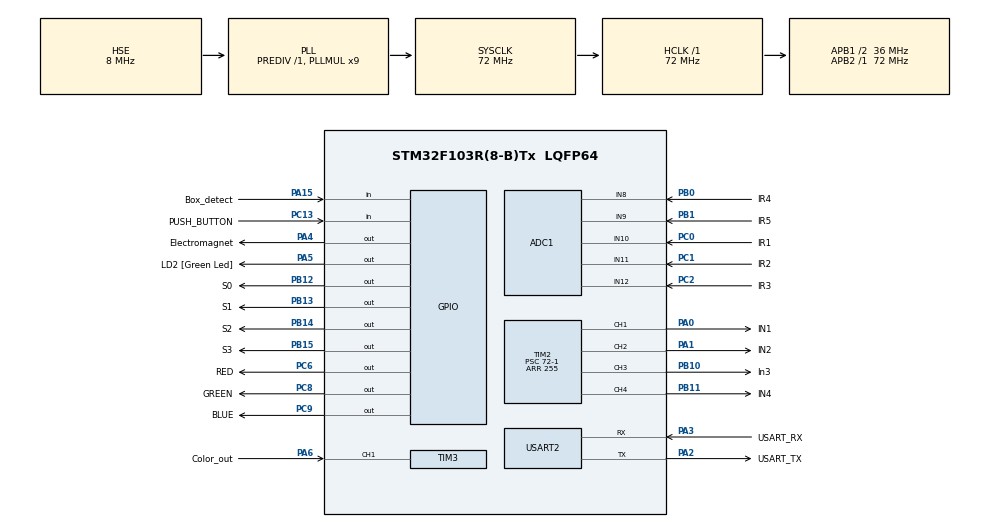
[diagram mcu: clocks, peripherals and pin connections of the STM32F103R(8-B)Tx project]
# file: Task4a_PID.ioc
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ADC1.Channel-0\#ChannelRegularConversion=ADC_CHANNEL_10
ADC1.Channel-1\#ChannelRegularConversion=ADC_CHANNEL_11
ADC1.Channel-2\#ChannelRegularConversion=ADC_CHANNEL_12
ADC1.Channel-3\#ChannelRegularConversion=ADC_CHANNEL_8
ADC1.Channel-4\#ChannelRegularConversion=ADC_CHANNEL_9
ADC1.ContinuousConvMode=ENABLE
ADC1.NbrOfConversion=5
ADC1.NbrOfConversionFlag=1
ADC1.Rank-0\#ChannelRegularConversion=1
ADC1.Rank-1\#ChannelRegularConversion=2
ADC1.Rank-2\#ChannelRegularConversion=3
ADC1.Rank-3\#ChannelRegularConversion=4
ADC1.Rank-4\#ChannelRegularConversion=5
ADC1.SamplingTime-0\#ChannelRegularConversion=ADC_SAMPLETIME_55CYCLES_5
ADC1.SamplingTime-1\#ChannelRegularConversion=ADC_SAMPLETIME_55CYCLES_5
ADC1.SamplingTime-2\#ChannelRegularConversion=ADC_SAMPLETIME_55CYCLES_5
ADC1.SamplingTime-3\#ChannelRegularConversion=ADC_SAMPLETIME_55CYCLES_5
ADC1.SamplingTime-4\#ChannelRegularConversion=ADC_SAMPLETIME_55CYCLES_5
ADC1.master=1
Dma.ADC1.0.Direction=DMA_PERIPH_TO_MEMORY
Dma.ADC1.0.Instance=DMA1_Channel1
Dma.ADC1.0.MemDataAlignment=DMA_MDATAALIGN_HALFWORD
Dma.ADC1.0.MemInc=DMA_MINC_ENABLE
Dma.ADC1.0.Mode=DMA_CIRCULAR
Dma.ADC1.0.PeriphDataAlignment=DMA_PDATAALIGN_HALFWORD
Dma.ADC1.0.PeriphInc=DMA_PINC_DISABLE
Dma.ADC1.0.Priority=DMA_PRIORITY_LOW
Dma.Request0=ADC1
Mcu.Family=STM32F1
Mcu.Name=STM32F103R(8-B)Tx
Mcu.Package=LQFP64
NVIC.ADC1_2_IRQn=true\:0\:0\:false\:false\:true\:true\:true\:true
NVIC.DMA1_Channel1_IRQn=true\:0\:0\:false\:false\:true\:false\:true\:true
NVIC.PriorityGroup=NVIC_PRIORITYGROUP_4
NVIC.TIM3_IRQn=true\:0\:0\:false\:false\:true\:true\:true\:true
PA0-WKUP.GPIO_Label=IN1
PA0-WKUP.Signal=S_TIM2_CH1_ETR
PA1.GPIO_Label=IN2
PA1.Signal=S_TIM2_CH2
PA13.GPIO_Label=TMS
PA13.Mode=Serial_Wire
PA13.Signal=SYS_JTMS-SWDIO
PA14.GPIO_Label=TCK
PA14.Mode=Serial_Wire
PA14.Signal=SYS_JTCK-SWCLK
PA15.GPIO_Label=Box_detect
PA15.Signal=GPIO_Input
PA2.GPIO_Label=USART_TX
PA2.GPIO_Mode=GPIO_MODE_AF_PP
PA2.GPIO_PuPd=GPIO_NOPULL
PA2.GPIO_Speed=GPIO_SPEED_FREQ_LOW
PA2.Mode=Asynchronous
PA2.Signal=USART2_TX
PA3.GPIO_Label=USART_RX
PA3.GPIO_Mode=GPIO_MODE_AF_PP
PA3.GPIO_PuPd=GPIO_NOPULL
PA3.GPIO_Speed=GPIO_SPEED_FREQ_LOW
PA3.Mode=Asynchronous
PA3.Signal=USART2_RX
PA4.GPIO_Label=Electromagnet
PA4.Signal=GPIO_Output
PA5.GPIO_Label=LD2 [Green Led]
PA5.GPIO_ModeDefaultOutputPP=GPIO_MODE_OUTPUT_PP
PA5.GPIO_PuPd=GPIO_NOPULL
PA5.GPIO_Speed=GPIO_SPEED_FREQ_LOW
PA5.Signal=GPIO_Output
PA6.GPIO_Label=Color_out
PA6.Signal=S_TIM3_CH1
PB0.GPIO_Label=IR4
PB0.Signal=ADCx_IN8
PB1.GPIO_Label=IR5
PB1.Signal=ADCx_IN9
PB10.GPIO_Label=In3
PB10.Signal=S_TIM2_CH3
PB11.GPIO_Label=IN4
PB11.Signal=S_TIM2_CH4
PB12.GPIO_Label=S0
PB12.Signal=GPIO_Output
PB13.GPIO_Label=S1
PB13.Signal=GPIO_Output
PB14.GPIO_Label=S2
PB14.Signal=GPIO_Output
PB15.GPIO_Label=S3
PB15.Signal=GPIO_Output
PB3.GPIO_Label=SWO
PB3.Signal=SYS_JTDO-TRACESWO
PC0.GPIO_Label=IR1
PC0.Signal=ADCx_IN10
PC1.GPIO_Label=IR2
PC1.Signal=ADCx_IN11
PC13-TAMPER-RTC.GPIO_Label=PUSH_BUTTON
PC13-TAMPER-RTC.GPIO_PuPd=GPIO_PULLUP
PC13-TAMPER-RTC.Signal=GPIO_Input
PC14-OSC32_IN.Mode=LSE-External-Oscillator
PC14-OSC32_IN.Signal=RCC_OSC32_IN
PC15-OSC32_OUT.Mode=LSE-External-Oscillator
PC15-OSC32_OUT.Signal=RCC_OSC32_OUT
PC2.GPIO_Label=IR3
PC2.Signal=ADCx_IN12
PC6.GPIO_Label=RED
PC6.Signal=GPIO_Output
PC8.GPIO_Label=GREEN
PC8.Signal=GPIO_Output
PC9.GPIO_Label=BLUE
PC9.Signal=GPIO_Output
PD0-OSC_IN.Mode=HSE-External-Clock-Source
PD0-OSC_IN.Signal=RCC_OSC_IN
PD1-OSC_OUT.Mode=HSE-External-Clock-Source
PD1-OSC_OUT.Signal=RCC_OSC_OUT
ProjectManager.HeapSize=0x200
ProjectManager.StackSize=0x400
ProjectManager.TargetToolchain=STM32CubeIDE
RCC.ADCPresc=RCC_ADCPCLK2_DIV6
RCC.AHBFreq_Value=72000000
RCC.APB1CLKDivider=RCC_HCLK_DIV2
RCC.APB1Freq_Value=36000000
RCC.APB1TimFreq_Value=72000000
RCC.APB2Freq_Value=72000000
RCC.APB2TimFreq_Value=72000000
RCC.HCLKFreq_Value=72000000
RCC.PLLMUL=RCC_PLL_MUL9
RCC.PLLSourceVirtual=RCC_PLLSOURCE_HSE
RCC.RTCClockSelection=RCC_RTCCLKSOURCE_LSE
RCC.SYSCLKFreq_VALUE=72000000
RCC.SYSCLKSource=RCC_SYSCLKSOURCE_PLLCLK
RCC.USBFreq_Value=72000000
SH.ADCx_IN10.0=ADC1_IN10,IN10
SH.ADCx_IN11.0=ADC1_IN11,IN11
SH.ADCx_IN12.0=ADC1_IN12,IN12
SH.ADCx_IN8.0=ADC1_IN8,IN8
SH.ADCx_IN9.0=ADC1_IN9,IN9
SH.S_TIM2_CH1_ETR.0=TIM2_CH1,PWM Generation1 CH1
SH.S_TIM2_CH2.0=TIM2_CH2,PWM Generation2 CH2
SH.S_TIM2_CH3.0=TIM2_CH3,PWM Generation3 CH3
SH.S_TIM2_CH4.0=TIM2_CH4,PWM Generation4 CH4
SH.S_TIM3_CH1.0=TIM3_CH1,Input_Capture1_from_TI1
TIM2.Channel-PWM\ Generation1\ CH1=TIM_CHANNEL_1
TIM2.Channel-PWM\ Generation2\ CH2=TIM_CHANNEL_2
TIM2.Channel-PWM\ Generation3\ CH3=TIM_CHANNEL_3
TIM2.Channel-PWM\ Generation4\ CH4=TIM_CHANNEL_4
TIM2.Period=255
TIM2.Prescaler=72-1
TIM3.Channel-Input_Capture1_from_TI1=TIM_CHANNEL_1
USART2.VirtualMode=VM_ASYNC
board=NUCLEO-F103RB

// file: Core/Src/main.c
/* USER CODE BEGIN Header */
/**
  ******************************************************************************
  * @file           : main.c
  * @brief          : Main program body
  ******************************************************************************
  * @attention
  *
  * Copyright (c) 2025 STMicroelectronics.
  * All rights reserved.
  *
  * This software is licensed under terms that can be found in the LICENSE file
  * in the root directory of this software component.
  * If no LICENSE file comes with this software, it is provided AS-IS.
  *
  ******************************************************************************
  */
/* USER CODE END Header */
#include "main.h"

/* USER CODE BEGIN Includes */
#include<stdio.h>
#include<string.h>

/* USER CODE END Includes */

/* USER CODE BEGIN PD */
#define PWM_MAX 255

// Left Motor (L298N)
#define LM_IN1 TIM_CHANNEL_1   // PA0
#define LM_IN2 TIM_CHANNEL_2   // PA1

// Right Motor (L298N)
#define RM_IN1 TIM_CHANNEL_3   // PA2
#define RM_IN2 TIM_CHANNEL_4   // PA3
#define TURN_SPEED     110
#define STOP_TIME_MS   1000

/* USER CODE END PD */

ADC_HandleTypeDef hadc1;
DMA_HandleTypeDef hdma_adc1;

TIM_HandleTypeDef htim2;
TIM_HandleTypeDef htim3;

UART_HandleTypeDef huart2;

/* USER CODE BEGIN PV */
volatile uint16_t adcBuffer[5];
char uartBuf[100];       // UART print buffer
/* >>> ADD: Calibration variables */
uint16_t irMin[5];
uint16_t irMax[5];
uint16_t irThreshold[5];
/* >>> ADD: Line sensing variables */
uint16_t sensorNorm[5];     // 0–1000 normalized
uint8_t  sensorBinary[5];   // 1 = white, 0 = black
int8_t   sensorWeight[5] = { -2, -1, 0, 1, 2 };
//int8_t   bitWeight[5] = {1,2,4,8,16};
typedef enum {
    DIR_STRAIGHT = 0,
    DIR_LEFT,
    DIR_RIGHT
} Direction_t;
//
//Direction_t direction = DIR_STRAIGHT;
typedef enum {
    STATE_PID,
    STATE_PEEK_FORWARD,
    STATE_STOP_BEFORE_TURN,
    STATE_TURNING,
	ALL_BLACK_FORWARD,
	ALL_BLACK_CHECK,
	INVERSE_LINE
} RobotState_t;

RobotState_t robotState = STATE_PID;
Direction_t storedDirection = DIR_STRAIGHT;

uint32_t stateStartTime = 0;

typedef enum {
    LINE_WHITE_ON_BLACK = 0,   // white line, black surface
    LINE_BLACK_ON_WHITE        // black line, white surface
} LineType_t;

LineType_t currentLineType = LINE_WHITE_ON_BLACK;
uint8_t onLine = 0;
float lineError = 0;
float Kp = 0.15f;
float Ki = 0.002f;
float Kd = 0.15f;
float pid_P = 0, pid_I = 0, pid_D = 0;
float previousError = 0;
float pidOutput = 0;

/* Base speed settings */
uint8_t currentspeed= 50;
uint8_t baseSpeed = 150;     // cruising speed
uint8_t maxSpeed  = 200;     // safety limit
uint8_t Bval=0;
uint8_t inSharpTurn = 0;
uint8_t bit_sensor;

/* USER CODE END PV */

void SystemClock_Config(void);
static void MX_GPIO_Init(void);
static void MX_DMA_Init(void);
static void MX_USART2_UART_Init(void);
static void MX_ADC1_Init(void);
static void MX_TIM2_Init(void);
static void MX_TIM3_Init(void);
/* USER CODE BEGIN PFP */
void Motor_Stop(void);
void Motor_Forward(uint8_t left_speed, uint8_t right_speed);
void Motor_Reverse(uint8_t left_speed, uint8_t right_speed);
void Motor_Turn_Left(uint8_t left_speed, uint8_t right_speed);
void Motor_Turn_Right(uint8_t left_speed, uint8_t right_speed);
void Calibrate_IR_Sensors(void);
void Read_Line_Sensors(void);
float Compute_Line_Error(void);
void Line_PID_Control(void);
void Print_Sensor_Binary(void);
void side_calibration(void);

/* USER CODE END PFP */

int main(void)
{

  /* MCU Configuration--------------------------------------------------------*/

  /* Reset of all peripherals, Initializes the Flash interface and the Systick. */
  HAL_Init();

  /* Configure the system clock */
  SystemClock_Config();

  /* Initialize all configured peripherals */
  MX_GPIO_Init();
  MX_DMA_Init();
  MX_USART2_UART_Init();
  MX_ADC1_Init();
  MX_TIM2_Init();
  MX_TIM3_Init();
  /* USER CODE BEGIN 2 */
  HAL_ADC_Start_DMA(&hadc1, (uint32_t*)adcBuffer,5);
  HAL_TIM_PWM_Start(&htim2, TIM_CHANNEL_1);
  HAL_TIM_PWM_Start(&htim2, TIM_CHANNEL_2);
  HAL_TIM_PWM_Start(&htim2, TIM_CHANNEL_3);
  HAL_TIM_PWM_Start(&htim2, TIM_CHANNEL_4);
  HAL_Delay(500);          // wait before calibration
  Calibrate_IR_Sensors();

  /* USER CODE END 2 */

  /* Infinite loop */
  while (1)
  {

    /* USER CODE BEGIN 3 */
	    Read_Line_Sensors();
	    lineError = Compute_Line_Error();
//	    Print_Sensor_Binary();
	    if(currentspeed<baseSpeed){
	    	currentspeed++;
	    }
//	    /* -------- SHARP TURN DETECTION -------- */
	    if (robotState == STATE_PID)
	    {
	        if (bit_sensor == 0b11100 || bit_sensor == 0b11000 ||
	            bit_sensor == 0b10000 )
	        {
	            storedDirection = DIR_LEFT;
	            robotState = STATE_PEEK_FORWARD;
	            stateStartTime = HAL_GetTick();
	            continue;
	        }

	        if (bit_sensor == 0b00111 || bit_sensor == 0b00011 ||
	            bit_sensor == 0b00001 )
	        {
	            storedDirection = DIR_RIGHT;
	            robotState = STATE_PEEK_FORWARD;
	            stateStartTime = HAL_GetTick();
	            continue;
	        }
//	        if(bit_sensor==0b00000){
//	        	robotState = ALL_BLACK_FORWARD;
//	        	stateStartTime = HAL_GetTick();
//	        	continue;
//	        }
	        if(bit_sensor==0b11011|| bit_sensor==0b10001 || bit_sensor==0b11101|| bit_sensor==0b10111){
	        	//inverse line detected
	        	robotState=INVERSE_LINE;
	        	continue;
	        }
	    }

	    if(robotState==INVERSE_LINE){
	    	//Black line then stop
	    	Motor_Stop();
	    	continue;
	    }
	    if (robotState == STATE_PEEK_FORWARD)
	    {
	        Motor_Forward(100, 100);

	        if (HAL_GetTick() - stateStartTime > 150)   // move forward ~300ms
	        {
//	            robotState = STATE_STOP_BEFORE_TURN;
	        	robotState = STATE_TURNING;
	            stateStartTime = HAL_GetTick();
	        }
	        continue;
	    }
//	    if (robotState == ALL_BLACK_FORWARD)
//	    {
//	    	 Motor_Forward(70, 70);
//
//	    	 if (HAL_GetTick() - stateStartTime >= 50)
//	    	 {
//	    		 Motor_Stop();
//	    	     robotState = ALL_BLACK_CHECK;   // 👈 decision state
//	    	 }
//	    	 continue;
//	    }
//	    if (robotState == ALL_BLACK_CHECK)
//	    {
//	        Read_Line_Sensors();
//	        Compute_Line_Error();   // updates bit_sensor
//
//	        if (bit_sensor == 0b00000)
//	        {
//	            //STILL ALL BLACK → FULL STOP
//	            Motor_Stop();
//	            // stay here forever OR until reset
//	        }
//	        else
//	        {
//	            //LINE FOUND → RESUME PID
//	            pid_I = 0;
//	            previousError = 0;
//	            robotState = STATE_PID;
//	        }
//	        continue;
//	    }
//	    if (robotState == STATE_STOP_BEFORE_TURN)
//	    {
//	        Motor_Stop();
//
//	        if (HAL_GetTick() - stateStartTime > 150)
//	        {
//	            robotState = STATE_TURNING;
//	        }
//	        continue;
//	    }
	    if (robotState == STATE_TURNING)
	    {
	        if (storedDirection == DIR_LEFT)
	            Motor_Turn_Left(baseSpeed,baseSpeed);
	        else
	            Motor_Turn_Right(baseSpeed, baseSpeed);

	        if (sensorBinary[2])   // center sensor found line
	        {
	            Motor_Stop();
	            pid_I = 0;
	            previousError = 0;
	            storedDirection =DIR_STRAIGHT;
	            robotState = STATE_PID;

	        }
	        continue;
	    }
	    if (robotState == STATE_PID)
	    {
	        Line_PID_Control();
	    }
//	    if(onLine == 1 && inSharpTurn == 0){
//	    	Line_PID_Control();
//	    }
//	    else{
//
//	    if((sensorBinary[0] && sensorBinary[1] && sensorBinary[2] && !sensorBinary[3] && !sensorBinary[4])||
//	    	   (sensorBinary[0] && sensorBinary[1] &&! sensorBinary[2] && !sensorBinary[3] && !sensorBinary[4])||
//			   (sensorBinary[0] && !sensorBinary[1] && !sensorBinary[2] && !sensorBinary[3] && !sensorBinary[4])||
//			   (sensorBinary[0] && sensorBinary[1] && sensorBinary[2] && sensorBinary[3] && !sensorBinary[4])){
//	    		inSharpTurn = 1;
//
//	    		    // 1️⃣ STOP
//	    		    Motor_Stop();
//	    		    HAL_Delay(STOP_TIME_MS);
//
//	    		    // 2️⃣ TURN LEFT
//	    		    Motor_Turn_Left(100, 200);
//	    		    HAL_Delay(500);
//
//	    		    // 3️⃣ STOP again briefly
//	    		    Motor_Stop();
//	    		    HAL_Delay(50);
//
//	    		    // Reset PID so it doesn't jerk
//	    		    pid_I = 0;
//	    		    previousError = 0;
//
//	    		    inSharpTurn = 0;
//	    	}
//	    	else if((!sensorBinary[0] && sensorBinary[1] && sensorBinary[2] && sensorBinary[3] && sensorBinary[4])||
//	    			(!sensorBinary[0] && !sensorBinary[1] && sensorBinary[2] && sensorBinary[3] && sensorBinary[4])||
//					(!sensorBinary[0] && !sensorBinary[1] && !sensorBinary[2] && sensorBinary[3] && sensorBinary[4])||
//					(!sensorBinary[0] && !sensorBinary[1] && !sensorBinary[2] && !sensorBinary[3] && sensorBinary[4])){
//	    		inSharpTurn = 1;
//
//	    		    // 1️⃣ STOP
//	    		    Motor_Stop();
//	    		    HAL_Delay(STOP_TIME_MS);
//
//	    		    // 2️⃣ TURN RIGHT
//	    		    Motor_Turn_Right(200, 100);
//	    		    HAL_Delay(500);
//
//	    		    // 3️⃣ STOP again briefly
//	    		    Motor_Stop();
//	    		    HAL_Delay(50);
//
//	    		    pid_I = 0;
//	    		    previousError = 0;
//
//	    		    inSharpTurn = 0;
//	    	}
//	    }
//	    HAL_Delay(5);
  }
  /* USER CODE END 3 */
}

void SystemClock_Config(void)
{
  RCC_OscInitTypeDef RCC_OscInitStruct = {0};
  RCC_ClkInitTypeDef RCC_ClkInitStruct = {0};
  RCC_PeriphCLKInitTypeDef PeriphClkInit = {0};

  /** Initializes the RCC Oscillators according to the specified parameters
  * in the RCC_OscInitTypeDef structure.
  */
  RCC_OscInitStruct.OscillatorType = RCC_OSCILLATORTYPE_HSE;
  RCC_OscInitStruct.HSEState = RCC_HSE_BYPASS;
  RCC_OscInitStruct.HSEPredivValue = RCC_HSE_PREDIV_DIV1;
  RCC_OscInitStruct.HSIState = RCC_HSI_ON;
  RCC_OscInitStruct.PLL.PLLState = RCC_PLL_ON;
  RCC_OscInitStruct.PLL.PLLSource = RCC_PLLSOURCE_HSE;
  RCC_OscInitStruct.PLL.PLLMUL = RCC_PLL_MUL9;
  if (HAL_RCC_OscConfig(&RCC_OscInitStruct) != HAL_OK)
  {
    Error_Handler();
  }

  /** Initializes the CPU, AHB and APB buses clocks
  */
  RCC_ClkInitStruct.ClockType = RCC_CLOCKTYPE_HCLK|RCC_CLOCKTYPE_SYSCLK
                              |RCC_CLOCKTYPE_PCLK1|RCC_CLOCKTYPE_PCLK2;
  RCC_ClkInitStruct.SYSCLKSource = RCC_SYSCLKSOURCE_PLLCLK;
  RCC_ClkInitStruct.AHBCLKDivider = RCC_SYSCLK_DIV1;
  RCC_ClkInitStruct.APB1CLKDivider = RCC_HCLK_DIV2;
  RCC_ClkInitStruct.APB2CLKDivider = RCC_HCLK_DIV1;

  if (HAL_RCC_ClockConfig(&RCC_ClkInitStruct, FLASH_LATENCY_2) != HAL_OK)
  {
    Error_Handler();
  }
  PeriphClkInit.PeriphClockSelection = RCC_PERIPHCLK_ADC;
  PeriphClkInit.AdcClockSelection = RCC_ADCPCLK2_DIV6;
  if (HAL_RCCEx_PeriphCLKConfig(&PeriphClkInit) != HAL_OK)
  {
    Error_Handler();
  }
}

static void MX_ADC1_Init(void)
{

  ADC_ChannelConfTypeDef sConfig = {0};

  /** Common config
  */
  hadc1.Instance = ADC1;
  hadc1.Init.ScanConvMode = ADC_SCAN_ENABLE;
  hadc1.Init.ContinuousConvMode = ENABLE;
  hadc1.Init.DiscontinuousConvMode = DISABLE;
  hadc1.Init.ExternalTrigConv = ADC_SOFTWARE_START;
  hadc1.Init.DataAlign = ADC_DATAALIGN_RIGHT;
  hadc1.Init.NbrOfConversion = 5;
  if (HAL_ADC_Init(&hadc1) != HAL_OK)
  {
    Error_Handler();
  }

  /** Configure Regular Channel
  */
  sConfig.Channel = ADC_CHANNEL_10;
  sConfig.Rank = ADC_REGULAR_RANK_1;
  sConfig.SamplingTime = ADC_SAMPLETIME_55CYCLES_5;
  if (HAL_ADC_ConfigChannel(&hadc1, &sConfig) != HAL_OK)
  {
    Error_Handler();
  }

  /** Configure Regular Channel
  */
  sConfig.Channel = ADC_CHANNEL_11;
  sConfig.Rank = ADC_REGULAR_RANK_2;
  if (HAL_ADC_ConfigChannel(&hadc1, &sConfig) != HAL_OK)
  {
    Error_Handler();
  }

  /** Configure Regular Channel
  */
  sConfig.Channel = ADC_CHANNEL_12;
  sConfig.Rank = ADC_REGULAR_RANK_3;
  if (HAL_ADC_ConfigChannel(&hadc1, &sConfig) != HAL_OK)
  {
    Error_Handler();
  }

  /** Configure Regular Channel
  */
  sConfig.Channel = ADC_CHANNEL_8;
  sConfig.Rank = ADC_REGULAR_RANK_4;
  if (HAL_ADC_ConfigChannel(&hadc1, &sConfig) != HAL_OK)
  {
    Error_Handler();
  }

  /** Configure Regular Channel
  */
  sConfig.Channel = ADC_CHANNEL_9;
  sConfig.Rank = ADC_REGULAR_RANK_5;
  if (HAL_ADC_ConfigChannel(&hadc1, &sConfig) != HAL_OK)
  {
    Error_Handler();
  }

}

static void MX_TIM2_Init(void)
{

  TIM_MasterConfigTypeDef sMasterConfig = {0};
  TIM_OC_InitTypeDef sConfigOC = {0};

  htim2.Instance = TIM2;
  htim2.Init.Prescaler = 72-1;
  htim2.Init.CounterMode = TIM_COUNTERMODE_UP;
  htim2.Init.Period = 255;
  htim2.Init.ClockDivision = TIM_CLOCKDIVISION_DIV1;
  htim2.Init.AutoReloadPreload = TIM_AUTORELOAD_PRELOAD_DISABLE;
  if (HAL_TIM_PWM_Init(&htim2) != HAL_OK)
  {
    Error_Handler();
  }
  sMasterConfig.MasterOutputTrigger = TIM_TRGO_RESET;
  sMasterConfig.MasterSlaveMode = TIM_MASTERSLAVEMODE_DISABLE;
  if (HAL_TIMEx_MasterConfigSynchronization(&htim2, &sMasterConfig) != HAL_OK)
  {
    Error_Handler();
  }
  sConfigOC.OCMode = TIM_OCMODE_PWM1;
  sConfigOC.Pulse = 0;
  sConfigOC.OCPolarity = TIM_OCPOLARITY_HIGH;
  sConfigOC.OCFastMode = TIM_OCFAST_DISABLE;
  if (HAL_TIM_PWM_ConfigChannel(&htim2, &sConfigOC, TIM_CHANNEL_1) != HAL_OK)
  {
    Error_Handler();
  }
  if (HAL_TIM_PWM_ConfigChannel(&htim2, &sConfigOC, TIM_CHANNEL_2) != HAL_OK)
  {
    Error_Handler();
  }
  if (HAL_TIM_PWM_ConfigChannel(&htim2, &sConfigOC, TIM_CHANNEL_3) != HAL_OK)
  {
    Error_Handler();
  }
  if (HAL_TIM_PWM_ConfigChannel(&htim2, &sConfigOC, TIM_CHANNEL_4) != HAL_OK)
  {
    Error_Handler();
  }
  HAL_TIM_MspPostInit(&htim2);

}

static void MX_TIM3_Init(void)
{

  TIM_MasterConfigTypeDef sMasterConfig = {0};
  TIM_IC_InitTypeDef sConfigIC = {0};

  htim3.Instance = TIM3;
  htim3.Init.Prescaler = 0;
  htim3.Init.CounterMode = TIM_COUNTERMODE_UP;
  htim3.Init.Period = 65535;
  htim3.Init.ClockDivision = TIM_CLOCKDIVISION_DIV1;
  htim3.Init.AutoReloadPreload = TIM_AUTORELOAD_PRELOAD_DISABLE;
  if (HAL_TIM_IC_Init(&htim3) != HAL_OK)
  {
    Error_Handler();
  }
  sMasterConfig.MasterOutputTrigger = TIM_TRGO_RESET;
  sMasterConfig.MasterSlaveMode = TIM_MASTERSLAVEMODE_DISABLE;
  if (HAL_TIMEx_MasterConfigSynchronization(&htim3, &sMasterConfig) != HAL_OK)
  {
    Error_Handler();
  }
  sConfigIC.ICPolarity = TIM_INPUTCHANNELPOLARITY_RISING;
  sConfigIC.ICSelection = TIM_ICSELECTION_DIRECTTI;
  sConfigIC.ICPrescaler = TIM_ICPSC_DIV1;
  sConfigIC.ICFilter = 0;
  if (HAL_TIM_IC_ConfigChannel(&htim3, &sConfigIC, TIM_CHANNEL_1) != HAL_OK)
  {
    Error_Handler();
  }

}

static void MX_USART2_UART_Init(void)
{

  huart2.Instance = USART2;
  huart2.Init.BaudRate = 115200;
  huart2.Init.WordLength = UART_WORDLENGTH_8B;
  huart2.Init.StopBits = UART_STOPBITS_1;
  huart2.Init.Parity = UART_PARITY_NONE;
  huart2.Init.Mode = UART_MODE_TX_RX;
  huart2.Init.HwFlowCtl = UART_HWCONTROL_NONE;
  huart2.Init.OverSampling = UART_OVERSAMPLING_16;
  if (HAL_UART_Init(&huart2) != HAL_OK)
  {
    Error_Handler();
  }

}

static void MX_DMA_Init(void)
{

  /* DMA controller clock enable */
  __HAL_RCC_DMA1_CLK_ENABLE();

  /* DMA interrupt init */
  /* DMA1_Channel1_IRQn interrupt configuration */
  HAL_NVIC_SetPriority(DMA1_Channel1_IRQn, 0, 0);
  HAL_NVIC_EnableIRQ(DMA1_Channel1_IRQn);

}

static void MX_GPIO_Init(void)
{
  GPIO_InitTypeDef GPIO_InitStruct = {0};

  /* GPIO Ports Clock Enable */
  __HAL_RCC_GPIOC_CLK_ENABLE();
  __HAL_RCC_GPIOD_CLK_ENABLE();
  __HAL_RCC_GPIOA_CLK_ENABLE();
  __HAL_RCC_GPIOB_CLK_ENABLE();

  /*Configure GPIO pin Output Level */
  HAL_GPIO_WritePin(GPIOA, Electromagnet_Pin|LD2_Pin, GPIO_PIN_RESET);

  /*Configure GPIO pin Output Level */
  HAL_GPIO_WritePin(GPIOB, S0_Pin|S1_Pin|S2_Pin|S3_Pin, GPIO_PIN_RESET);

  /*Configure GPIO pin Output Level */
  HAL_GPIO_WritePin(GPIOC, RED_Pin|GREEN_Pin|BLUE_Pin, GPIO_PIN_RESET);

  /*Configure GPIO pin : PUSH_BUTTON_Pin */
  GPIO_InitStruct.Pin = PUSH_BUTTON_Pin;
  GPIO_InitStruct.Mode = GPIO_MODE_INPUT;
  GPIO_InitStruct.Pull = GPIO_PULLUP;
  HAL_GPIO_Init(PUSH_BUTTON_GPIO_Port, &GPIO_InitStruct);

  /*Configure GPIO pins : Electromagnet_Pin LD2_Pin */
  GPIO_InitStruct.Pin = Electromagnet_Pin|LD2_Pin;
  GPIO_InitStruct.Mode = GPIO_MODE_OUTPUT_PP;
  GPIO_InitStruct.Pull = GPIO_NOPULL;
  GPIO_InitStruct.Speed = GPIO_SPEED_FREQ_LOW;
  HAL_GPIO_Init(GPIOA, &GPIO_InitStruct);

  /*Configure GPIO pins : S0_Pin S1_Pin S2_Pin S3_Pin */
  GPIO_InitStruct.Pin = S0_Pin|S1_Pin|S2_Pin|S3_Pin;
  GPIO_InitStruct.Mode = GPIO_MODE_OUTPUT_PP;
  GPIO_InitStruct.Pull = GPIO_NOPULL;
  GPIO_InitStruct.Speed = GPIO_SPEED_FREQ_LOW;
  HAL_GPIO_Init(GPIOB, &GPIO_InitStruct);

  /*Configure GPIO pins : RED_Pin GREEN_Pin BLUE_Pin */
  GPIO_InitStruct.Pin = RED_Pin|GREEN_Pin|BLUE_Pin;
  GPIO_InitStruct.Mode = GPIO_MODE_OUTPUT_PP;
  GPIO_InitStruct.Pull = GPIO_NOPULL;
  GPIO_InitStruct.Speed = GPIO_SPEED_FREQ_LOW;
  HAL_GPIO_Init(GPIOC, &GPIO_InitStruct);

  /*Configure GPIO pin : Box_detect_Pin */
  GPIO_InitStruct.Pin = Box_detect_Pin;
  GPIO_InitStruct.Mode = GPIO_MODE_INPUT;
  GPIO_InitStruct.Pull = GPIO_NOPULL;
  HAL_GPIO_Init(Box_detect_GPIO_Port, &GPIO_InitStruct);

}

/* USER CODE BEGIN 4 */
void Motor_Stop(void)
{
    __HAL_TIM_SET_COMPARE(&htim2, LM_IN1, 0);
    __HAL_TIM_SET_COMPARE(&htim2, LM_IN2, 0);
    __HAL_TIM_SET_COMPARE(&htim2, RM_IN1, 0);
    __HAL_TIM_SET_COMPARE(&htim2, RM_IN2, 0);
}

void Motor_Forward(uint8_t left_speed, uint8_t right_speed)
{
    __HAL_TIM_SET_COMPARE(&htim2, LM_IN1, left_speed);
    __HAL_TIM_SET_COMPARE(&htim2, LM_IN2, 0);

    __HAL_TIM_SET_COMPARE(&htim2, RM_IN1, right_speed);
    __HAL_TIM_SET_COMPARE(&htim2, RM_IN2, 0);
}

void Motor_Reverse(uint8_t left_speed, uint8_t right_speed)
{
    __HAL_TIM_SET_COMPARE(&htim2, LM_IN1, 0);
    __HAL_TIM_SET_COMPARE(&htim2, LM_IN2, left_speed);

    __HAL_TIM_SET_COMPARE(&htim2, RM_IN1, 0);
    __HAL_TIM_SET_COMPARE(&htim2, RM_IN2, right_speed);
}

void Motor_Turn_Left(uint8_t left_speed, uint8_t right_speed)
{
	 	 // Left motor backward
	    __HAL_TIM_SET_COMPARE(&htim2, LM_IN1, 0);
	    __HAL_TIM_SET_COMPARE(&htim2, LM_IN2, left_speed);

	    // Right motor forward
	    __HAL_TIM_SET_COMPARE(&htim2, RM_IN1, right_speed);
	    __HAL_TIM_SET_COMPARE(&htim2, RM_IN2, 0);
}

void Motor_Turn_Right(uint8_t left_speed, uint8_t right_speed)
{
		// Left motor forward
	    __HAL_TIM_SET_COMPARE(&htim2, LM_IN1, left_speed);
	    __HAL_TIM_SET_COMPARE(&htim2, LM_IN2, 0);

	    // Right motor backward
	    __HAL_TIM_SET_COMPARE(&htim2, RM_IN1, 0);
	    __HAL_TIM_SET_COMPARE(&htim2, RM_IN2, right_speed);
}

/* IR sensor calibration function */
void Calibrate_IR_Sensors(void)
{
    // Initialize min & max with first ADC readings
    for (int i = 0; i < 5; i++)
    {
        irMin[i] = adcBuffer[i];
        irMax[i] = adcBuffer[i];
    }

    uint32_t startTime = HAL_GetTick();

    // Rotate robot for calibration (~4 seconds)
    while (HAL_GetTick() - startTime < 4000)
    {
        // Rotate in place
        Motor_Turn_Left(100, 100);

        for (int i = 0; i < 5; i++)
        {
            uint16_t val = adcBuffer[i];

            if (val < irMin[i]) irMin[i] = val;
            if (val > irMax[i]) irMax[i] = val;
        }

        HAL_Delay(2);  // small delay for ADC stability
    }

    // Calculate threshold for each sensor
    for (int i = 0; i < 5; i++)
    {
        irThreshold[i] = (irMin[i] + irMax[i]) / 2;
    }
    while(1){
    	 Motor_Stop();
    	 Bval=HAL_GPIO_ReadPin(PUSH_BUTTON_GPIO_Port, PUSH_BUTTON_Pin);
    	 if(Bval==0){
    		 break;
    	 }

    }

//  	Print calibration results
//    int len = snprintf(uartBuf, sizeof(uartBuf),
//        "CAL DONE | T: %d %d %d %d %d\r\n",
//        irThreshold[0], irThreshold[1], irThreshold[2],
//        irThreshold[3], irThreshold[4]);
//
//    HAL_UART_Transmit(&huart2, (uint8_t*)uartBuf, len, HAL_MAX_DELAY);
}

/*: Read & classify IR sensors (WHITE line) */
void Read_Line_Sensors(void)
{
    onLine = 0;

    for (int i = 0; i < 5; i++)
    {
        uint16_t raw = adcBuffer[i];

        // Normalize to 0–1000 (WHITE = 1000)
        if (raw <= irMin[i])
            sensorNorm[i] = 0;
        else if (raw >= irMax[i])
            sensorNorm[i] = 1000;
        else
            sensorNorm[i] = (uint16_t)(
                ( (raw - irMin[i]) * 1000UL ) / (irMax[i] - irMin[i])
            );

        // Binary decision: WHITE or BLACK
        sensorBinary[i] = (raw > irThreshold[i]) ? 1 : 0;

        if (sensorBinary[i])
            onLine = 1;
    }
}

/*  Compute weighted line error */
float Compute_Line_Error(void)
{
    int activeSensors = 0;
    float errorSum = 0;
    bit_sensor=0;

    for (int i = 0; i < 5; i++)
    {
        if (sensorBinary[i])
        {
            errorSum += sensorWeight[i] * sensorNorm[i];
            bit_sensor |= (sensorBinary[i] << (4 - i));
            activeSensors++;
        }
    }

    if (activeSensors == 0)
    {
        return previousError;   // preserve turn direction
    }

    return errorSum / activeSensors;
}

/* PID based line following */
void Line_PID_Control(void)
{
//    /* ---------------- SHARP TURN DETECTION ---------------- */
//
//    direction = DIR_STRAIGHT;
//
//    switch (bit_sensor)
//    {
//        /* LEFT sharp turn */
//        case 0b11100:
//        case 0b11000:
//        case 0b10000:
//        case 0b11110:
//            direction = DIR_LEFT;
//            break;
//
//        /* RIGHT sharp turn */
//        case 0b00111:
//        case 0b00011:
//        case 0b00001:
//        case 0b01111:
//            direction = DIR_RIGHT;
//            break;
//    }
//
//    /* ---------------- TURN EXECUTION ---------------- */
//
//    if (bit_sensor == 0 && direction != DIR_STRAIGHT)
//    {
//        inSharpTurn = 1;
//
//        Motor_Forward(baseSpeed,baseSpeed);
//        HAL_Delay(500);
//
//        if (direction == DIR_LEFT){
//        	while(!sensorBinary[2]){
//        	Motor_Stop();
//        	HAL_Delay(500);
//            Motor_Turn_Left(TURN_SPEED, TURN_SPEED);
//            Read_Line_Sensors();
//            lineError = Compute_Line_Error();
//            direction = DIR_STRAIGHT;
//
//        	}
//        }
//        else{
//        	while(!sensorBinary[2]){
//        	Motor_Stop();
//        	HAL_Delay(500);
//            Motor_Turn_Right(TURN_SPEED, TURN_SPEED);
//            Read_Line_Sensors();
//            lineError = Compute_Line_Error();
//            direction = DIR_STRAIGHT;
//        	}
//        }
//        HAL_Delay(350);
//
//        Motor_Stop();
//        HAL_Delay(20);
//
//        pid_I = 0;
//        previousError = 0;
//        inSharpTurn = 0;
//        lineError = 0;
//
//
//        return;   // ⛔ EXIT PID
//    }
	/* ---------- SHARP TURN DETECTION (ONLY IN PID STATE) ---------- */

    /* ---------------- NORMAL PID ---------------- */

    pid_P = lineError;
    pid_I += lineError;

    if (pid_I > 300)  pid_I = 300;
    if (pid_I < -300) pid_I = -300;

    pid_D = lineError - previousError;

    pidOutput = (Kp * pid_P) + (Ki * pid_I) + (Kd * pid_D);
    previousError = lineError;

    int leftSpeed  = baseSpeed + pidOutput;
    int rightSpeed = baseSpeed - pidOutput;

    if (leftSpeed > maxSpeed)  leftSpeed = maxSpeed;
    if (leftSpeed < 0)         leftSpeed = 0;
    if (rightSpeed > maxSpeed) rightSpeed = maxSpeed;
    if (rightSpeed < 0)        rightSpeed = 0;

    Motor_Forward((uint8_t)leftSpeed, (uint8_t)rightSpeed);
}

void Print_Sensor_Binary(void){
	int16_t err_i = (int16_t)(lineError * 100);

	    int len = snprintf(uartBuf, sizeof(uartBuf),
	        "BIN:%d%d%d%d%d | on:%d | err:%d\r\n",
	        sensorBinary[0],
	        sensorBinary[1],
	        sensorBinary[2],
	        sensorBinary[3],
	        sensorBinary[4],
	        onLine,
	        err_i
	    );

	    HAL_UART_Transmit(&huart2, (uint8_t*)uartBuf, len, HAL_MAX_DELAY);
}

/* USER CODE END 4 */

void Error_Handler(void)
{
  __disable_irq();
  while (1)
  {
  }
}
